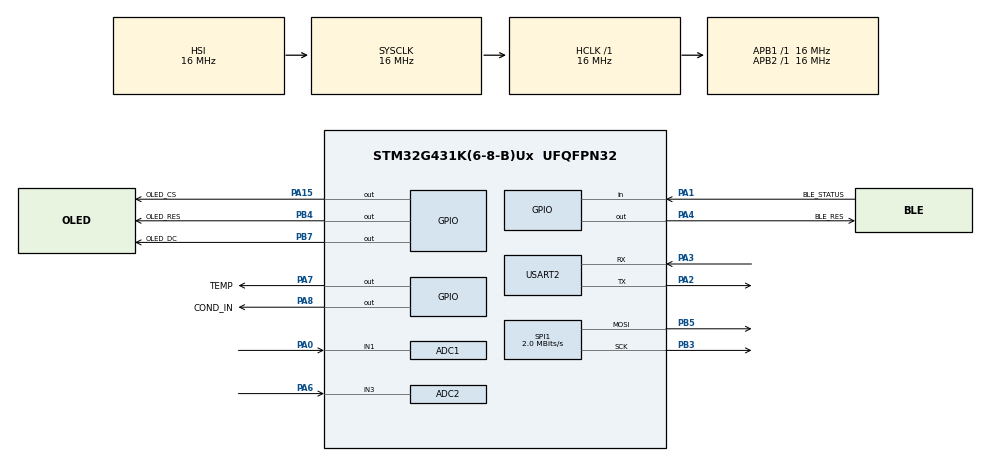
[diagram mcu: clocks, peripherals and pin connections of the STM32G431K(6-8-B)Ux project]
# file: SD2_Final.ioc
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ADC1.Channel-1\#ChannelRegularConversion=ADC_CHANNEL_1
ADC1.NbrOfConversionFlag=1
ADC1.OffsetNumber-1\#ChannelRegularConversion=ADC_OFFSET_NONE
ADC1.Rank-1\#ChannelRegularConversion=1
ADC1.SamplingTime-1\#ChannelRegularConversion=ADC_SAMPLETIME_92CYCLES_5
ADC1.master=1
ADC2.Channel-0\#ChannelRegularConversion=ADC_CHANNEL_3
ADC2.NbrOfConversionFlag=1
ADC2.OffsetNumber-0\#ChannelRegularConversion=ADC_OFFSET_NONE
ADC2.Rank-0\#ChannelRegularConversion=1
ADC2.SamplingTime-0\#ChannelRegularConversion=ADC_SAMPLETIME_92CYCLES_5
Mcu.Family=STM32G4
Mcu.Name=STM32G431K(6-8-B)Ux
Mcu.Package=UFQFPN32
NVIC.PriorityGroup=NVIC_PRIORITYGROUP_4
PA0.Mode=IN1-Single-Ended
PA0.Signal=ADC1_IN1
PA1.GPIO_Label=BLE_STATUS
PA1.Signal=GPIO_Input
PA13.Mode=Serial_Wire
PA13.Signal=SYS_JTMS-SWDIO
PA14.Mode=Serial_Wire
PA14.Signal=SYS_JTCK-SWCLK
PA15.GPIO_Label=OLED_CS
PA15.Signal=GPIO_Output
PA2.Mode=Asynchronous
PA2.Signal=USART2_TX
PA3.Mode=Asynchronous
PA3.Signal=USART2_RX
PA4.GPIO_Label=BLE_RES
PA4.PinState=GPIO_PIN_SET
PA4.Signal=GPIO_Output
PA6.Mode=IN3-Single-Ended
PA6.Signal=ADC2_IN3
PA7.GPIO_Label=TEMP
PA7.GPIO_ModeDefaultOutputPP=GPIO_MODE_OUTPUT_OD
PA7.GPIO_PuPd=GPIO_NOPULL
PA7.PinState=GPIO_PIN_SET
PA7.Signal=GPIO_Output
PA8.GPIO_Label=COND_IN
PA8.Signal=GPIO_Output
PB3.Mode=TX_Only_Simplex_Unidirect_Master
PB3.Signal=SPI1_SCK
PB4.GPIO_Label=OLED_RES
PB4.Signal=GPIO_Output
PB5.Mode=TX_Only_Simplex_Unidirect_Master
PB5.Signal=SPI1_MOSI
PB7.GPIO_Label=OLED_DC
PB7.Signal=GPIO_Output
ProjectManager.HeapSize=0x200
ProjectManager.StackSize=0x400
ProjectManager.TargetToolchain=STM32CubeIDE
RCC.AHBFreq_Value=16000000
RCC.APB1Freq_Value=16000000
RCC.APB1TimFreq_Value=16000000
RCC.APB2Freq_Value=16000000
RCC.APB2TimFreq_Value=16000000
RCC.CortexFreq_Value=16000000
RCC.EXTERNAL_CLOCK_VALUE=12288000
RCC.HCLKFreq_Value=16000000
RCC.HSE_VALUE=8000000
RCC.HSI48_VALUE=48000000
RCC.HSI_VALUE=16000000
RCC.LSE_VALUE=32768
RCC.SYSCLKFreq_VALUE=16000000
RCC.USBFreq_Value=64000000
RCC.VCOOutputFreq_Value=128000000
SPI1.BaudRatePrescaler=SPI_BAUDRATEPRESCALER_8
SPI1.CalculateBaudRate=2.0 MBits/s
SPI1.DataSize=SPI_DATASIZE_8BIT
SPI1.Direction=SPI_DIRECTION_2LINES
SPI1.Mode=SPI_MODE_MASTER
SPI1.VirtualType=VM_MASTER
TIM2.Prescaler=0
USART2.VirtualMode-Asynchronous=VM_ASYNC
VP_SYS_VS_DBSignals.Mode=DisableDeadBatterySignals
VP_TIM2_VS_ClockSourceINT.Mode=Internal
board=custom

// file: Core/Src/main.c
/* USER CODE BEGIN Header */
/**
  ******************************************************************************
  * @file           : main.c
  * @brief          : Main program body
  ******************************************************************************
  * @attention
  *
  * Copyright (c) 2026 STMicroelectronics.
  * All rights reserved.
  *
  * This software is licensed under terms that can be found in the LICENSE file
  * in the root directory of this software component.
  * If no LICENSE file comes with this software, it is provided AS-IS.
  *
  ******************************************************************************
  */
/* USER CODE END Header */
#include "main.h"

/* USER CODE BEGIN Includes */
#include <string.h>
#include <stdio.h>
#include <math.h>
#include "model_params.h"   /* auto-generated by train_model.py */
/* USER CODE END Includes */

/* USER CODE BEGIN PTD */
typedef struct
{
    uint16_t conductivity_adc;
    float conductivity_voltage;

    uint16_t load_adc;
    float weight_g;

    float temperature_c;

    uint8_t temperature_valid;
    uint8_t load_valid;
    uint8_t conductivity_valid;
} MeasurementFrame;
/* USER CODE END PTD */

/* USER CODE BEGIN PD */
/*
 * No lower validity bound on conductivity: near-zero readings are REAL
 * for low-conductivity liquids (isopropyl, distilled water), which are
 * part of the identification set. Tradeoff: a disconnected probe also
 * reads ~0 and can no longer be distinguished from those liquids.
 */
/* Tightened from 4090: readings near the rail mean a short (e.g. brine
 * film bridging the electrodes), not a real liquid measurement. */
#define COND_ADC_MAX_VALID       4050U

#define LOAD_ADC_MIN_VALID       5U
#define LOAD_ADC_MAX_VALID       4090U

#define TEMP_MIN_VALID_C        -10.0f
#define TEMP_MAX_VALID_C         85.0f

#define MEASUREMENT_TOTAL_MS       5000U
#define ANALOG_ACQUISITION_END_MS  4750U

#define FINAL_WEIGHT_SAMPLES       101U
#define FINAL_COND_SAMPLES         101U
#define FINAL_TEMP_SAMPLES         3U

/*
 * ADC -> conductivity conversion, two-point calibration 2026-07-14:
 *   1413 uS/cm standard -> 2535 counts @ 24.0 C
 *   12.88 mS/cm standard -> 2904 counts @ 26.9 C (avg of 3)
 * Model: r = adc/(4095-adc); sigma_mS_cm = A*r / (1 - B*r), then
 * compensated to 25 C. B captures series/electrode resistance; the
 * model saturates near ADC ~2954, so higher readings are clamped.
 */
#define COND_CAL_A_MS_CM         0.317081f
#define COND_CAL_B               0.386403f
#define COND_MAX_MS_CM           20.0f
/* USER CODE END PD */

ADC_HandleTypeDef hadc1;
ADC_HandleTypeDef hadc2;

SPI_HandleTypeDef hspi1;

TIM_HandleTypeDef htim2;

UART_HandleTypeDef huart2;

/* USER CODE BEGIN PV */

// BLE BEGIN
#define RN4871_RESET_PORT GPIOA
#define RN4871_RESET_PIN  GPIO_PIN_4
// BLE END

// OLED BEGIN
#define OLED_CS_PORT   OLED_CS_GPIO_Port
#define OLED_CS_PIN    OLED_CS_Pin

#define OLED_DC_PORT   OLED_DC_GPIO_Port
#define OLED_DC_PIN    OLED_DC_Pin

#define OLED_RES_PORT  OLED_RES_GPIO_Port
#define OLED_RES_PIN   OLED_RES_Pin

static const uint8_t FONT_SPACE[5] = {0x00, 0x00, 0x00, 0x00, 0x00};
static const uint8_t FONT_MINUS[5] = {0x08, 0x08, 0x08, 0x08, 0x08};
static const uint8_t FONT_DOT[5]   = {0x00, 0x60, 0x60, 0x00, 0x00};
static const uint8_t FONT_COLON[5] = {0x00, 0x36, 0x36, 0x00, 0x00};

static const uint8_t FONT_0[5] = {0x3E, 0x51, 0x49, 0x45, 0x3E};
static const uint8_t FONT_1[5] = {0x00, 0x42, 0x7F, 0x40, 0x00};
static const uint8_t FONT_2[5] = {0x42, 0x61, 0x51, 0x49, 0x46};
static const uint8_t FONT_3[5] = {0x21, 0x41, 0x45, 0x4B, 0x31};
static const uint8_t FONT_4[5] = {0x18, 0x14, 0x12, 0x7F, 0x10};
static const uint8_t FONT_5[5] = {0x27, 0x45, 0x45, 0x45, 0x39};
static const uint8_t FONT_6[5] = {0x3C, 0x4A, 0x49, 0x49, 0x30};
static const uint8_t FONT_7[5] = {0x01, 0x71, 0x09, 0x05, 0x03};
static const uint8_t FONT_8[5] = {0x36, 0x49, 0x49, 0x49, 0x36};
static const uint8_t FONT_9[5] = {0x06, 0x49, 0x49, 0x29, 0x1E};

static const uint8_t FONT_C[5] = {0x3E, 0x41, 0x41, 0x41, 0x22};
static const uint8_t FONT_D[5] = {0x7F, 0x41, 0x41, 0x22, 0x1C};
static const uint8_t FONT_E[5] = {0x7F, 0x49, 0x49, 0x49, 0x41};
static const uint8_t FONT_G[5] = {0x3E, 0x41, 0x49, 0x49, 0x7A};
static const uint8_t FONT_H[5] = {0x7F, 0x08, 0x08, 0x08, 0x7F};
static const uint8_t FONT_I[5] = {0x00, 0x41, 0x7F, 0x41, 0x00};
static const uint8_t FONT_M[5] = {0x7F, 0x02, 0x0C, 0x02, 0x7F};
static const uint8_t FONT_N[5] = {0x7F, 0x04, 0x08, 0x10, 0x7F};
static const uint8_t FONT_O[5] = {0x3E, 0x41, 0x41, 0x41, 0x3E};
static const uint8_t FONT_P[5] = {0x7F, 0x09, 0x09, 0x09, 0x06};
static const uint8_t FONT_T[5] = {0x01, 0x01, 0x7F, 0x01, 0x01};
static const uint8_t FONT_W[5] = {0x7F, 0x20, 0x18, 0x20, 0x7F};
static const uint8_t FONT_A[5] = {0x7E, 0x11, 0x11, 0x11, 0x7E};
static const uint8_t FONT_R[5] = {0x7F, 0x09, 0x19, 0x29, 0x46};
static const uint8_t FONT_S[5] = {0x46, 0x49, 0x49, 0x49, 0x31};
static const uint8_t FONT_U[5] = {0x3F, 0x40, 0x40, 0x40, 0x3F};
static const uint8_t FONT_B[5] = {0x7F, 0x49, 0x49, 0x49, 0x36};
static const uint8_t FONT_F[5] = {0x7F, 0x09, 0x09, 0x09, 0x01};
static const uint8_t FONT_J[5] = {0x20, 0x40, 0x41, 0x3F, 0x01};
static const uint8_t FONT_K[5] = {0x7F, 0x08, 0x14, 0x22, 0x41};
static const uint8_t FONT_L[5] = {0x7F, 0x40, 0x40, 0x40, 0x40};
static const uint8_t FONT_Q[5] = {0x3E, 0x41, 0x51, 0x21, 0x5E};
static const uint8_t FONT_V[5] = {0x1F, 0x20, 0x40, 0x20, 0x1F};
static const uint8_t FONT_X[5] = {0x63, 0x14, 0x08, 0x14, 0x63};
static const uint8_t FONT_Y[5] = {0x07, 0x08, 0x70, 0x08, 0x07};
static const uint8_t FONT_Z[5] = {0x61, 0x51, 0x49, 0x45, 0x43};

/*
 * 16x16 liquid icons for the identification screen. Layout: 16 column
 * bytes for the top page (rows 0-7, bit0 = top row), then 16 for the
 * bottom page. Order in LIQUID_ICONS must match the class indices in
 * model_params.h once the classifier is integrated.
 */
static const uint8_t ICON_FLASK[32] = {      /* isopropyl */
    0x00, 0x00, 0x00, 0x00, 0x80, 0xC1, 0x7F, 0x01, 0x01, 0x7F, 0xC1, 0x80, 0x00, 0x00, 0x00, 0x00,
    0x00, 0x7C, 0xC6, 0xE3, 0xF1, 0xF0, 0xF0, 0xF0, 0xF0, 0xF0, 0xF0, 0xF1, 0xE3, 0xC6, 0x7C, 0x00
};
static const uint8_t ICON_DROPLET[32] = {    /* distilled water */
    0x00, 0x00, 0x00, 0x00, 0xC0, 0xF0, 0xFC, 0xFF, 0xFF, 0xFC, 0xF0, 0xC0, 0x00, 0x00, 0x00, 0x00,
    0x00, 0x00, 0x00, 0x0F, 0x3F, 0x7F, 0xFF, 0xFF, 0xFF, 0xFF, 0x7F, 0x3F, 0x0F, 0x00, 0x00, 0x00
};
static const uint8_t ICON_FAUCET[32] = {     /* tap water */
    0xF0, 0xF8, 0x38, 0x38, 0x3A, 0x3B, 0x3B, 0x3F, 0x3B, 0x3A, 0x38, 0xF8, 0xF8, 0xF0, 0x00, 0x00,
    0x00, 0x00, 0x00, 0x00, 0x00, 0x00, 0x00, 0x00, 0x00, 0x00, 0x70, 0xF8, 0xFB, 0x73, 0x00, 0x00
};
static const uint8_t ICON_BOTTLE[32] = {     /* coke */
    0x00, 0x00, 0x00, 0xE0, 0xF0, 0xF8, 0xFF, 0xFF, 0xFF, 0xFF, 0xF8, 0xF0, 0xE0, 0x00, 0x00, 0x00,
    0x00, 0x00, 0x00, 0x7F, 0xFF, 0xF0, 0xF0, 0xF0, 0xF0, 0xF0, 0xF0, 0xFF, 0x7F, 0x00, 0x00, 0x00
};
static const uint8_t ICON_JUG[32] = {        /* vinegar */
    0x00, 0x00, 0x00, 0xE0, 0x30, 0x18, 0x0F, 0x0F, 0x0F, 0x18, 0x30, 0xE0, 0x00, 0x00, 0x00, 0x00,
    0x00, 0x00, 0x00, 0x7F, 0xC0, 0x9E, 0x92, 0x92, 0x92, 0x9E, 0xC0, 0x7F, 0x00, 0x00, 0x00, 0x00
};
static const uint8_t ICON_SHAKER[32] = {     /* salt water */
    0x00, 0x00, 0x00, 0xE0, 0x3E, 0x0B, 0x0D, 0x0B, 0x0D, 0x0B, 0x3F, 0xE0, 0x00, 0x00, 0x00, 0x00,
    0x00, 0x00, 0xFF, 0xC1, 0xC0, 0xF0, 0xF8, 0xF8, 0xF8, 0xF0, 0xC0, 0xC1, 0xFF, 0x00, 0x00, 0x00
};
static const uint8_t ICON_UNKNOWN[32] = {    /* below-confidence / unknown */
    0x00, 0x00, 0x00, 0x06, 0x07, 0x01, 0xC1, 0xE1, 0x71, 0x3F, 0x1E, 0x00, 0x00, 0x00, 0x00, 0x00,
    0x00, 0x00, 0x00, 0x00, 0x00, 0x00, 0x33, 0x33, 0x00, 0x00, 0x00, 0x00, 0x00, 0x00, 0x00, 0x00
};

/*
 * Class index -> icon. MUST stay aligned with CLASS_NAMES in
 * model_params.h (training labels sort alphabetically). Current model:
 * 0=COKE, 1=DISTILLED, 2=GLYCERIN, 3=ISOPROPYL, 4=SALT WATER, 5=TAP WATER.
 */
static const uint8_t *const LIQUID_ICONS[NUM_CLASSES] = {
    ICON_BOTTLE,   /* 0: COKE       */
    ICON_DROPLET,  /* 1: DISTILLED  */
    ICON_JUG,      /* 2: GLYCERIN   */
    ICON_FLASK,    /* 3: ISOPROPYL  */
    ICON_SHAKER,   /* 4: SALT WATER */
    ICON_FAUCET,   /* 5: TAP WATER  */
};
// OLED END

#define TIM2_TICKS_PER_US 16U

// TEMP BEGIN
uint8_t ds18b20_present = 0;
float measured_temp_c = 0.0f;
// TEMP END

// LOAD BEGIN
uint16_t load_adc_raw = 0;
float load_voltage = 0.0f;
float measured_weight_g = 0.0f;
float load_zero_adc = 2438.0f;	// pre-tare default; overwritten by boot tare
/*
 * Slope recalibrated 2026-07-20 against 100 mL water-density pours:
 * the load cell drifts session to session, so this tracks the current
 * state (was 1.589 -> 1.1345 -> now 1.9088). Because the cell is
 * unreliable, mass is weighted only 0.1 in the classifier; this slope
 * mainly keeps the displayed grams sensible. RE-VERIFY on demo day:
 * 100 mL water should read ~100 g; if far off, recompute.
 * Ricky's original temperature-dependent values for reference:
 *   1.589 Cool (~20-22C) / 1.54 Normal (~23-25C) / 1.357 Warm (>25.5C)
 */
float load_counts_per_gram = 1.9088f;
static float filtered_weight_g = 0.0f;
static uint8_t weight_filter_initialized = 0U;
#define WEIGHT_MEDIAN_WINDOW 5U
static float weight_history[WEIGHT_MEDIAN_WINDOW] = {0.0f};
static uint8_t weight_history_count = 0U;
static uint8_t weight_history_index = 0U;
// LOAD END

// CONDUCTIVITY BEGIN
uint16_t cond_adc_high = 0;
float cond_voltage_high = 0.0f;
uint16_t cond_adc_raw = 0;
float cond_voltage = 0.0f;
// CONDUCTIVITY END

MeasurementFrame measurement = {0};

/* USER CODE END PV */

void SystemClock_Config(void);
static void MX_GPIO_Init(void);
static void MX_ADC1_Init(void);
static void MX_ADC2_Init(void);
static void MX_SPI1_Init(void);
static void MX_TIM2_Init(void);
static void MX_USART2_UART_Init(void);
static const uint8_t *OLED_GetGlyph(char character);
static void OLED_Clear(void);
static float LoadCell_MedianFilter(float new_weight);
/* USER CODE BEGIN PFP */

// OLED BEGIN
static void OLED_SetCursor(uint8_t page, uint8_t column);
static void OLED_WriteChar(char character);
static void OLED_WriteLine(uint8_t page, const char *text);
static void OLED_ShowMeasurements(float conductivity_ms_cm,
                                  float weight_g,
                                  float temperature_c);
// OLED END

// LOAD BEGIN
static uint16_t ADC_ReadSingle(ADC_HandleTypeDef *hadc);
static uint16_t LoadCell_ReadFiltered(uint16_t sample_count);
static float LoadCell_GetWeight(uint16_t sample_count);
// LOAD END

// COND BEGIN
static uint16_t Conductivity_Read(uint16_t sample_count);
static float Conductivity_ToMScm(uint16_t adc, float temp_c);
// COND END

static void Measurement_Acquire(MeasurementFrame *frame);
static uint8_t Measurement_IsValid(const MeasurementFrame *frame);
static void Measurement_Send(const MeasurementFrame *frame);
static float MedianFloat(float values[], uint16_t count);
static uint16_t MedianUint16(uint16_t values[], uint16_t count);

static void Measurement_RunFiveSeconds(MeasurementFrame *frame);
static void Measurement_DisplayFinal(const MeasurementFrame *frame);

static void LoadCell_Tare(uint32_t duration_ms);

/* On-device classification result (kNN + Nearest Centroid). */
typedef struct
{
    uint8_t knn_class;
    float knn_confidence;
    uint8_t nc_class;
    float nc_confidence;
} ClassificationResult;

static void Classifier_Run(const MeasurementFrame *frame,
                           ClassificationResult *result);

/* Demo mass conditioning (applied post-identification, pre-send). */
static float ClampToRange(float value, float lo, float hi);
static float Mass_ConditionForDemo(uint8_t class_index, float measured_g);
/* USER CODE END PFP */

/* USER CODE BEGIN 0 */

// BLE BEGIN
void RN4871_Reset(void)
{
    // Most reset pins are active-low.
    HAL_GPIO_WritePin(RN4871_RESET_PORT, RN4871_RESET_PIN, GPIO_PIN_RESET);
    HAL_Delay(20);
    HAL_GPIO_WritePin(RN4871_RESET_PORT, RN4871_RESET_PIN, GPIO_PIN_SET);
    HAL_Delay(500);
}

void BT_SendString(const char *str)
{
    HAL_UART_Transmit(&huart2, (uint8_t *)str, strlen(str), HAL_MAX_DELAY);
}
// BLE END

// OLED BEGIN
void OLED_Select(void)
{
    HAL_GPIO_WritePin(OLED_CS_PORT, OLED_CS_PIN, GPIO_PIN_RESET);
}

void OLED_Unselect(void)
{
    HAL_GPIO_WritePin(OLED_CS_PORT, OLED_CS_PIN, GPIO_PIN_SET);
}

void OLED_Command(uint8_t cmd)
{
    HAL_GPIO_WritePin(OLED_DC_PORT, OLED_DC_PIN, GPIO_PIN_RESET);
    OLED_Select();
    HAL_SPI_Transmit(&hspi1, &cmd, 1, HAL_MAX_DELAY);
    OLED_Unselect();
}

void OLED_Data(uint8_t data)
{
    HAL_GPIO_WritePin(OLED_DC_PORT, OLED_DC_PIN, GPIO_PIN_SET);
    OLED_Select();
    HAL_SPI_Transmit(&hspi1, &data, 1, HAL_MAX_DELAY);
    OLED_Unselect();
}

static void OLED_SetCursor(uint8_t page, uint8_t column)
{
    /*
     * SH1106 has a two-column display RAM offset.
     */
    uint8_t adjusted_column = column + 2U;

    OLED_Command((uint8_t)(0xB0U + page));
    OLED_Command((uint8_t)(adjusted_column & 0x0FU));
    OLED_Command((uint8_t)(0x10U |
                           ((adjusted_column >> 4U) & 0x0FU)));
}

static void OLED_WriteChar(char character)
{
    const uint8_t *glyph = OLED_GetGlyph(character);
    uint8_t data[6];

    for (uint8_t i = 0U; i < 5U; i++)
    {
        data[i] = glyph[i];
    }

    data[5] = 0x00;

    HAL_GPIO_WritePin(OLED_DC_PORT, OLED_DC_PIN, GPIO_PIN_SET);

    OLED_Select();
    HAL_SPI_Transmit(&hspi1, data, sizeof(data), 10U);
    OLED_Unselect();
}

static void OLED_WriteLine(uint8_t page, const char *text)
{
    OLED_SetCursor(page, 0U);

    for (uint8_t position = 0U; position < 21U; position++)
    {
        if ((text != NULL) && (*text != '\0'))
        {
            OLED_WriteChar(*text);
            text++;
        }
        else
        {
            OLED_WriteChar(' ');
        }
    }
}

static void OLED_ShowMeasurements(float conductivity_ms_cm,
                                  float weight_g,
                                  float temperature_c)
{
    char line[22];

    /* Shown in uS/cm to match the app's display unit. */
    snprintf(line,
             sizeof(line),
             "COND: %.0f",
             conductivity_ms_cm * 1000.0f);

    OLED_WriteLine(0U, line);

    snprintf(line,
             sizeof(line),
             "WEIGHT: %.1f G",
             weight_g);

    OLED_WriteLine(2U, line);

    if (ds18b20_present && temperature_c > -100.0f)
    {
        snprintf(line,
                 sizeof(line),
                 "TEMP: %.2f C",
                 temperature_c);
    }
    else
    {
        snprintf(line,
                 sizeof(line),
                 "TEMP: ERROR");
    }

    OLED_WriteLine(4U, line);
}

/* Draw a 16x16 icon with its top-left at (page, column). Spans 2 pages. */
static void OLED_DrawIcon16(uint8_t page, uint8_t column, const uint8_t *icon)
{
    for (uint8_t p = 0U; p < 2U; p++)
    {
        OLED_SetCursor(page + p, column);

        HAL_GPIO_WritePin(OLED_DC_PORT, OLED_DC_PIN, GPIO_PIN_SET);
        OLED_Select();
        HAL_SPI_Transmit(&hspi1, (uint8_t *)&icon[p * 16U], 16U, 10U);
        OLED_Unselect();
    }
}

/*
 * Identification screen: liquid icon (centered, large) + name below.
 * Call once the on-device classifier is integrated, e.g.:
 *     OLED_ShowIdentified(class_index, CLASS_NAMES[class_index]);
 * Pass an out-of-range index (e.g. 0xFF) to show the UNKNOWN icon.
 */
static void OLED_ShowIdentified(uint8_t class_index, const char *name)
{
    const uint8_t *icon;

    if (class_index < (sizeof(LIQUID_ICONS) / sizeof(LIQUID_ICONS[0])))
    {
        icon = LIQUID_ICONS[class_index];
    }
    else
    {
        icon = ICON_UNKNOWN;
    }

    OLED_Clear();
    OLED_DrawIcon16(1U, 56U, icon);   /* centered: (128-16)/2 = 56 */
    OLED_WriteLine(5U, name);
}

static void OLED_ShowProcessing(uint8_t dots)
{
    char line[22];

    strcpy(line, "MEASURING");

    for (uint8_t i = 0; i < dots; i++)
    {
        strcat(line, ".");
    }

    OLED_Clear();
    OLED_WriteLine(2, line);
}

void OLED_Reset(void)
{
    HAL_GPIO_WritePin(OLED_RES_PORT, OLED_RES_PIN, GPIO_PIN_RESET);
    HAL_Delay(20);
    HAL_GPIO_WritePin(OLED_RES_PORT, OLED_RES_PIN, GPIO_PIN_SET);
    HAL_Delay(20);
}

void OLED_Init(void)
{
    OLED_Reset();

    OLED_Command(0xAE); // Display OFF
    OLED_Command(0xD5); // Set display clock
    OLED_Command(0x80);
    OLED_Command(0xA8); // Multiplex ratio
    OLED_Command(0x3F);
    OLED_Command(0xD3); // Display offset
    OLED_Command(0x00);
    OLED_Command(0x40); // Start line
    OLED_Command(0xAD); // DC-DC control for SH1106
    OLED_Command(0x8B);
    OLED_Command(0xA1); // Segment remap
    OLED_Command(0xC8); // COM scan direction
    OLED_Command(0xDA); // COM pins
    OLED_Command(0x12);
    OLED_Command(0x81); // Contrast
    OLED_Command(0x30);
    OLED_Command(0xD9); // Pre-charge
    OLED_Command(0x1F);
    OLED_Command(0xDB); // VCOM detect
    OLED_Command(0x40);
    OLED_Command(0xA4); // Resume RAM content
    OLED_Command(0xA6); // Normal display
    OLED_Command(0xAF); // Display ON
}

void OLED_Clear(void)
{
    for (uint8_t page = 0; page < 8; page++)
    {
        OLED_Command(0xB0 + page);
        OLED_Command(0x02); // lower column offset for SH1106
        OLED_Command(0x10); // higher column

        for (uint8_t col = 0; col < 128; col++)
        {
            OLED_Data(0x00);
        }
    }
}

void OLED_Fill(void)
{
    for (uint8_t page = 0; page < 8; page++)
    {
        OLED_Command(0xB0 + page);
        OLED_Command(0x02);
        OLED_Command(0x10);

        for (uint8_t col = 0; col < 128; col++)
        {
            OLED_Data(0xFF);
        }
    }
}

static const uint8_t *OLED_GetGlyph(char character)
{
    switch (character)
    {
        case '0': return FONT_0;
        case '1': return FONT_1;
        case '2': return FONT_2;
        case '3': return FONT_3;
        case '4': return FONT_4;
        case '5': return FONT_5;
        case '6': return FONT_6;
        case '7': return FONT_7;
        case '8': return FONT_8;
        case '9': return FONT_9;

        case 'A': return FONT_A;
        case 'C': return FONT_C;
        case 'D': return FONT_D;
        case 'E': return FONT_E;
        case 'G': return FONT_G;
        case 'H': return FONT_H;
        case 'I': return FONT_I;
        case 'M': return FONT_M;
        case 'N': return FONT_N;
        case 'O': return FONT_O;
        case 'P': return FONT_P;
        case 'R': return FONT_R;
        case 'S': return FONT_S;
        case 'T': return FONT_T;
        case 'U': return FONT_U;
        case 'W': return FONT_W;
        case 'B': return FONT_B;
        case 'F': return FONT_F;
        case 'J': return FONT_J;
        case 'K': return FONT_K;
        case 'L': return FONT_L;
        case 'Q': return FONT_Q;
        case 'V': return FONT_V;
        case 'X': return FONT_X;
        case 'Y': return FONT_Y;
        case 'Z': return FONT_Z;

        case ':': return FONT_COLON;
        case '.': return FONT_DOT;
        case '-': return FONT_MINUS;
        case ' ':
        default:
            return FONT_SPACE;
    }
}
// OLED END

// TEMP BEGIN
static inline void DS18B20_LineLow(void)
{
    HAL_GPIO_WritePin(TEMP_GPIO_Port, TEMP_Pin, GPIO_PIN_RESET);
}

static inline void DS18B20_LineRelease(void)
{
    HAL_GPIO_WritePin(TEMP_GPIO_Port, TEMP_Pin, GPIO_PIN_SET);
}

static inline uint8_t DS18B20_LineRead(void)
{
    return HAL_GPIO_ReadPin(TEMP_GPIO_Port, TEMP_Pin) == GPIO_PIN_SET;
}

static void delay_us(uint32_t us)
{
    uint32_t start = __HAL_TIM_GET_COUNTER(&htim2);
    uint32_t required_ticks = us * TIM2_TICKS_PER_US;

    while ((__HAL_TIM_GET_COUNTER(&htim2) - start) < required_ticks)
    {
    }
}

static uint8_t DS18B20_Start(void)
{
    uint8_t response;

    DS18B20_LineRelease();
    delay_us(10);

    if (!DS18B20_LineRead())
    {
        return 0U;
    }

    __disable_irq();

    DS18B20_LineLow();
    delay_us(500);

    DS18B20_LineRelease();
    delay_us(70);

    response = DS18B20_LineRead() ? 0U : 1U;

    __enable_irq();

    delay_us(410);

    return response;
}

void DS18B20_WriteBit(uint8_t bit)
{
    __disable_irq();

    DS18B20_LineLow();

    if (bit)
    {
        delay_us(6);
        DS18B20_LineRelease();
        delay_us(64);
    }
    else
    {
        delay_us(60);
        DS18B20_LineRelease();
        delay_us(10);
    }

    __enable_irq();
}

static uint8_t DS18B20_ReadBit(void)
{
    uint8_t bit;

    __disable_irq();

    DS18B20_LineLow();
    delay_us(3);

    DS18B20_LineRelease();
    delay_us(12);

    bit = DS18B20_LineRead();

    delay_us(50);

    __enable_irq();

    return bit;
}

void DS18B20_WriteByte(uint8_t data)
{
    for (uint8_t i = 0; i < 8; i++)
    {
        DS18B20_WriteBit(data & 0x01U);
        data >>= 1;
    }
}

uint8_t DS18B20_ReadByte(void)
{
    uint8_t value = 0;

    for (uint8_t i = 0; i < 8; i++)
    {
        if (DS18B20_ReadBit())
        {
            value |= (1U << i);
        }
    }

    return value;
}

static float DS18B20_ReadTemp(void)
{
    uint8_t scratchpad[9];
    int16_t raw_temperature;

    ds18b20_present = DS18B20_Start();

    if (!ds18b20_present)
    {
        return -1000.0f;
    }

    DS18B20_WriteByte(0xCC);  // Skip ROM
    DS18B20_WriteByte(0x44);  // Start conversion

    HAL_Delay(750);

    ds18b20_present = DS18B20_Start();

    if (!ds18b20_present)
    {
        return -1000.0f;
    }

    DS18B20_WriteByte(0xCC);  // Skip ROM
    DS18B20_WriteByte(0xBE);  // Read scratchpad

    for (uint8_t i = 0; i < 9; i++)
    {
        scratchpad[i] = DS18B20_ReadByte();
    }

    if ((scratchpad[0] == 0x00U && scratchpad[1] == 0x00U) ||
        (scratchpad[0] == 0xFFU && scratchpad[1] == 0xFFU))
    {
        return -1000.0f;
    }

    raw_temperature =
        (int16_t)(((uint16_t)scratchpad[1] << 8) | scratchpad[0]);

    return (float)raw_temperature / 16.0f;
}
// TEMP END

// LOAD BEGIN
static uint16_t ADC_ReadSingle(ADC_HandleTypeDef *hadc)
{
    uint16_t value = 0;

    if (HAL_ADC_Start(hadc) != HAL_OK)
    {
        return 0;
    }

    if (HAL_ADC_PollForConversion(hadc, 10U) == HAL_OK)
    {
        value = (uint16_t)HAL_ADC_GetValue(hadc);
    }

    HAL_ADC_Stop(hadc);

    return value;
}

static uint16_t LoadCell_ReadFiltered(uint16_t sample_count)
{
    if (sample_count < 3U)
    {
        return 0U;
    }

    uint32_t sum = 0;
    uint16_t minimum = 4095U;
    uint16_t maximum = 0U;

    for (uint16_t i = 0; i < sample_count; i++)
    {
        uint16_t sample = ADC_ReadSingle(&hadc2);

        sum += sample;

        if (sample < minimum)
        {
            minimum = sample;
        }

        if (sample > maximum)
        {
            maximum = sample;
        }
    }

    sum -= minimum;
    sum -= maximum;

    return (uint16_t)(sum / (sample_count - 2U));
}

static float LoadCell_GetWeight(uint16_t sample_count)
{
    load_adc_raw = LoadCell_ReadFiltered(sample_count);

    if (load_counts_per_gram == 0.0f)
    {
        return 0.0f;
    }

    return ((float)load_adc_raw - load_zero_adc) /
           load_counts_per_gram;
}

static float LoadCell_FilterWeight(float new_weight)
{
    float difference;
    float alpha;

    if (!weight_filter_initialized)
    {
        filtered_weight_g = new_weight;
        weight_filter_initialized = 1U;
        return filtered_weight_g;
    }

    difference = fabsf(new_weight - filtered_weight_g);

    if (difference > 10.0f)
    {
        alpha = 0.85f;   // Rapid response to a new load
    }
    else if (difference > 3.0f)
    {
        alpha = 0.50f;   // Moderate correction
    }
    else
    {
        alpha = 0.15f;   // Smooth the stable reading
    }

    filtered_weight_g =
        alpha * new_weight +
        (1.0f - alpha) * filtered_weight_g;

    return filtered_weight_g;
}

static float LoadCell_ApplyDeadband(float new_weight)
{
    static float displayed_weight = 0.0f;

    if (fabsf(new_weight - displayed_weight) >= 1.0f)
    {
        displayed_weight = new_weight;
    }

    return displayed_weight;
}

static float LoadCell_MedianFilter(float new_weight)
{
    float sorted[WEIGHT_MEDIAN_WINDOW];
    uint8_t count;

    /* Add the newest result to the circular history buffer. */
    weight_history[weight_history_index] = new_weight;

    weight_history_index++;

    if (weight_history_index >= WEIGHT_MEDIAN_WINDOW)
    {
        weight_history_index = 0U;
    }

    if (weight_history_count < WEIGHT_MEDIAN_WINDOW)
    {
        weight_history_count++;
    }

    count = weight_history_count;

    /* Copy the valid history values into a temporary array. */
    for (uint8_t i = 0U; i < count; i++)
    {
        sorted[i] = weight_history[i];
    }

    /* Insertion sort. This is efficient enough for five values. */
    for (uint8_t i = 1U; i < count; i++)
    {
        float value = sorted[i];
        int8_t j = (int8_t)i - 1;

        while ((j >= 0) && (sorted[j] > value))
        {
            sorted[j + 1] = sorted[j];
            j--;
        }

        sorted[j + 1] = value;
    }

    /* Return the middle value for an odd number of readings. */
    if ((count & 1U) != 0U)
    {
        return sorted[count / 2U];
    }

    /* Average the two middle values while the buffer is filling. */
    return (sorted[(count / 2U) - 1U] +
            sorted[count / 2U]) / 2.0f;
}
// LOAD END

/*
 * Tare the load cell: average readings for duration_ms into
 * load_zero_adc. Runs on every boot (power-up or app RESET), so the
 * chamber must be empty - or hold only the empty vessel - during it.
 * The OLED stays off while sampling, same precaution as measurements.
 */
static void LoadCell_Tare(uint32_t duration_ms)
{
    uint32_t start_ms;
    float sum = 0.0f;
    uint32_t count = 0U;
    char buffer[64];

    OLED_Command(0xAF);
    OLED_Clear();
    OLED_WriteLine(2U, "TARING");
    HAL_Delay(150U);

    OLED_Command(0xAE);
    HAL_Delay(50U);

    start_ms = HAL_GetTick();

    while ((HAL_GetTick() - start_ms) < duration_ms)
    {
        sum += (float)LoadCell_ReadFiltered(32U);
        count++;
    }

    if (count > 0U)
    {
        load_zero_adc = sum / (float)count;
    }

    snprintf(buffer,
             sizeof(buffer),
             "TARE | ZERO:%.1f | N:%lu\r\n",
             load_zero_adc,
             (unsigned long)count);

    BT_SendString(buffer);
}

static float MedianFloat(float values[], uint16_t count)
{
    if ((values == NULL) || (count == 0U))
    {
        return 0.0f;
    }

    /*
     * Insertion sort is appropriate for this small array.
     * The original array is intentionally sorted in place.
     */
    for (uint16_t i = 1U; i < count; i++)
    {
        float current = values[i];
        int32_t j = (int32_t)i - 1;

        while ((j >= 0) && (values[j] > current))
        {
            values[j + 1] = values[j];
            j--;
        }

        values[j + 1] = current;
    }

    if ((count & 1U) != 0U)
    {
        return values[count / 2U];
    }

    return (values[(count / 2U) - 1U] +
            values[count / 2U]) / 2.0f;
}

static uint16_t MedianUint16(uint16_t values[], uint16_t count)
{
    if ((values == NULL) || (count == 0U))
    {
        return 0U;
    }

    for (uint16_t i = 1U; i < count; i++)
    {
        uint16_t current = values[i];
        int32_t j = (int32_t)i - 1;

        while ((j >= 0) && (values[j] > current))
        {
            values[j + 1] = values[j];
            j--;
        }

        values[j + 1] = current;
    }

    if ((count & 1U) != 0U)
    {
        return values[count / 2U];
    }

    return (uint16_t)(
        ((uint32_t)values[(count / 2U) - 1U] +
         (uint32_t)values[count / 2U]) / 2U);
}

// CONDUCTIVITY BEGIN
static uint16_t Conductivity_Read(uint16_t sample_count)
{
    uint32_t sum = 0U;
    uint16_t minimum = 4095U;
    uint16_t maximum = 0U;

    if (sample_count < 3U)
    {
        return 0U;
    }

    /*
     * Force the divider node to a known discharged state
     * before beginning each measurement.
     */
    HAL_GPIO_WritePin(COND_IN_GPIO_Port,
                      COND_IN_Pin,
                      GPIO_PIN_RESET);

    HAL_Delay(10);

    /*
     * Apply excitation and allow the divider and ADC node
     * to settle completely.
     */
    HAL_GPIO_WritePin(COND_IN_GPIO_Port,
                      COND_IN_Pin,
                      GPIO_PIN_SET);

    HAL_Delay(10);

    /* Discard initial ADC conversions. */
    (void)ADC_ReadSingle(&hadc1);
    (void)ADC_ReadSingle(&hadc1);
    (void)ADC_ReadSingle(&hadc1);

    for (uint16_t i = 0U; i < sample_count; i++)
    {
        uint16_t sample = ADC_ReadSingle(&hadc1);

        sum += sample;

        if (sample < minimum)
        {
            minimum = sample;
        }

        if (sample > maximum)
        {
            maximum = sample;
        }
    }

    HAL_GPIO_WritePin(COND_IN_GPIO_Port,
                      COND_IN_Pin,
                      GPIO_PIN_RESET);

    sum -= minimum;
    sum -= maximum;

    return (uint16_t)(sum / (sample_count - 2U));
}

/*
 * Convert raw conductivity ADC counts to mS/cm using the two-point
 * calibrated model sigma = A*r/(1 - B*r), r = adc/(4095-adc). The B
 * term corrects the saturation from series/electrode resistance. Near
 * and past the model's asymptote the value is clamped, so very
 * conductive liquids report a large, stable ceiling instead of a
 * divergent number. Result is compensated to 25 C (~2%/C).
 */
static float Conductivity_ToMScm(uint16_t adc, float temp_c)
{
    float r;
    float denom;
    float sigma;

    if (adc >= 4095U)
    {
        return -1.0f;  /* railed - not a valid reading */
    }

    r = (float)adc / (4095.0f - (float)adc);

    denom = 1.0f - (COND_CAL_B * r);

    if (denom < 0.05f)
    {
        denom = 0.05f;  /* at/past the asymptote: peg the reading */
    }

    sigma = (COND_CAL_A_MS_CM * r) / denom;

    if (sigma > COND_MAX_MS_CM)
    {
        sigma = COND_MAX_MS_CM;
    }

    return sigma / (1.0f + 0.02f * (temp_c - 25.0f));
}
// CONDUCTIVITY END

// CLASSIFIER BEGIN
/*
 * Identify the liquid from a completed measurement using the constants
 * in model_params.h. The feature pipeline MUST mirror train_model.py:
 *   f[0] = log10(adc / (4095 - adc)), f[1] = weight_g, f[2] = temp_C,
 * each standardized with the trained scaler. kNN votes among the K
 * nearest stored training points; Nearest Centroid takes the closest
 * class mean, with confidence from the best/second-best margin.
 */
static void Classifier_Run(const MeasurementFrame *frame,
                           ClassificationResult *result)
{
    float f[NUM_FEATURES];
    float ratio;
    float best_dist[KNN_K];
    uint8_t best_class[KNN_K];
    uint8_t votes[NUM_CLASSES];
    float nc_best = 1e30f;
    float nc_second = 1e30f;
    uint8_t winner;
    uint8_t i;
    uint8_t c;
    uint16_t p;

    /* ── Feature pipeline ── */
    ratio = (float)frame->conductivity_adc /
            (4095.0f - (float)frame->conductivity_adc);

    if (ratio < COND_RATIO_FLOOR)
    {
        /* Clamp identically to train_model.py so bottom-of-range liquids
           (glycerin, 0-1 counts) match their trained cluster. */
        ratio = COND_RATIO_FLOOR;
    }

    f[0] = log10f(ratio);
    f[1] = 0.0f;   /* mass intentionally excluded from identification */
    f[2] = frame->temperature_c;

    for (i = 0U; i < NUM_FEATURES; i++)
    {
        f[i] = (f[i] - SCALER_MEAN[i]) / SCALER_SCALE[i];
        f[i] *= FEATURE_WEIGHTS[i];
    }

    /* ── kNN: keep the K nearest training points (squared distance) ── */
    for (i = 0U; i < KNN_K; i++)
    {
        best_dist[i] = 1e30f;
        best_class[i] = 0U;
    }

    for (p = 0U; p < NUM_TRAIN_POINTS; p++)
    {
        float d = 0.0f;

        for (i = 0U; i < NUM_FEATURES; i++)
        {
            float diff = f[i] - TRAIN_POINTS[p][i];
            d += diff * diff;
        }

        for (i = 0U; i < KNN_K; i++)
        {
            if (d < best_dist[i])
            {
                for (uint8_t j = KNN_K - 1U; j > i; j--)
                {
                    best_dist[j] = best_dist[j - 1U];
                    best_class[j] = best_class[j - 1U];
                }

                best_dist[i] = d;
                best_class[i] = TRAIN_LABELS[p];
                break;
            }
        }
    }

    for (c = 0U; c < NUM_CLASSES; c++)
    {
        votes[c] = 0U;
    }

    for (i = 0U; i < KNN_K; i++)
    {
        votes[best_class[i]]++;
    }

    winner = 0U;

    for (c = 1U; c < NUM_CLASSES; c++)
    {
        if (votes[c] > votes[winner])
        {
            winner = c;
        }
    }

    /* Unknown rejection: even the closest training point is farther than
       anything a known liquid produces -> refuse to guess. */
    if (best_dist[0] > KNN_REJECT_D2)
    {
        result->knn_class = 0xFFU;
        result->knn_confidence = 0.0f;
    }
    else
    {
        result->knn_class = winner;
        result->knn_confidence = (float)votes[winner] / (float)KNN_K;
    }

    /* ── Nearest Centroid ── */
    winner = 0U;

    for (c = 0U; c < NUM_CLASSES; c++)
    {
        float d = 0.0f;

        for (i = 0U; i < NUM_FEATURES; i++)
        {
            float diff = f[i] - CENTROIDS[c][i];
            d += diff * diff;
        }

        if (d < nc_best)
        {
            nc_second = nc_best;
            nc_best = d;
            winner = c;
        }
        else if (d < nc_second)
        {
            nc_second = d;
        }
    }

    if (nc_best > KNN_REJECT_D2)
    {
        result->nc_class = 0xFFU;
        result->nc_confidence = 0.0f;
    }
    else
    {
        result->nc_class = winner;
        result->nc_confidence =
            ((nc_best + nc_second) > 0.0f)
                ? (nc_second / (nc_best + nc_second))
                : 1.0f;
    }
}
// CLASSIFIER END

// MASS CONDITIONING BEGIN
/* Clamp value into [lo, hi]: values inside are unchanged, values outside
   are pulled to the nearest edge. */
static float ClampToRange(float value, float lo, float hi)
{
    if (value > hi)
    {
        return hi;
    }

    if (value < lo)
    {
        return lo;
    }

    return value;
}

/*
 * Demo mass conditioning. The load cell is unreliable session to session
 * (see load_counts_per_gram), so once the liquid is identified we compare
 * the measured mass of the nominally 100 mL sample against the known mass
 * of 100 mL of that liquid. If it falls outside a +/-4 g window we clamp
 * it to the nearest window edge, keeping it as close to the real reading
 * as possible while still physically sensible. Classification already ran
 * on the RAW mass, so this affects only the displayed/transmitted value,
 * never the identity.
 *
 * Centers = density (g/mL) * 100 mL. VERIFY by weighing 100 mL of each on
 * the rig and updating the numbers to match your actual samples:
 *   0 Coke (regular)  ~1.04 -> 104 g   (diet ~1.00 -> 100 g)
 *   1 Distilled water  1.00 -> 100 g
 *   2 Glycerin (pure)  1.26 -> 126 g
 *   3 Isopropyl (91%) ~0.81 ->  81 g   (70% ~87 g, 99% ~79 g)
 *   4 Salt water      ~1.03 -> 103 g   (seawater ~3.5%; strong brine is higher)
 *   5 Tap water        1.00 -> 100 g
 * Class order matches CLASS_NAMES in model_params.h.
 */
static float Mass_ConditionForDemo(uint8_t class_index, float measured_g)
{
    if (class_index == 0U)          /* Coke: 104 +/- 4 g */
    {
        return ClampToRange(measured_g, 100.0f, 108.0f);
    }
    else if (class_index == 1U)     /* Distilled water: 100 +/- 4 g */
    {
        return ClampToRange(measured_g, 96.0f, 104.0f);
    }
    else if (class_index == 2U)     /* Glycerin: 126 +/- 4 g */
    {
        return ClampToRange(measured_g, 122.0f, 130.0f);
    }
    else if (class_index == 3U)     /* Isopropyl (91%): 81 +/- 4 g */
    {
        return ClampToRange(measured_g, 77.0f, 85.0f);
    }
    else if (class_index == 4U)     /* Salt water: 103 +/- 4 g */
    {
        return ClampToRange(measured_g, 99.0f, 107.0f);
    }
    else if (class_index == 5U)     /* Tap water: 100 +/- 4 g */
    {
        return ClampToRange(measured_g, 96.0f, 104.0f);
    }

    /* Unknown liquid (0xFF): leave the reading unchanged. */
    return measured_g;
}
// MASS CONDITIONING END

static void Measurement_RunFiveSeconds(MeasurementFrame *frame)
{
    float weight_samples[FINAL_WEIGHT_SAMPLES];
    uint16_t conductivity_samples[FINAL_COND_SAMPLES];

    uint16_t weight_count = 0U;
    uint16_t conductivity_count = 0U;

    float temperature_sum = 0.0f;
    uint8_t temperature_count = 0U;

    uint32_t measurement_start_ms;
    uint32_t next_status_update_ms;
    uint8_t processing_step = 0U;

    if (frame == NULL)
    {
        return;
    }

    memset(frame, 0, sizeof(*frame));

    measurement_start_ms = HAL_GetTick();

    /* Show the first processing frame immediately. */
    OLED_Command(0xAF);
    OLED_ShowProcessing(processing_step);
    HAL_Delay(150U);

    processing_step = 1U;

    /* Turn the OLED off before measuring. */
    OLED_Command(0xAE);
    HAL_Delay(50U);

    /*
     * Collect temperature readings.
     * The OLED stays off during each actual sensor transaction.
     */
    for (uint8_t i = 0U; i < FINAL_TEMP_SAMPLES; i++)
    {
        float temperature = DS18B20_ReadTemp();

        if (ds18b20_present &&
            (temperature >= TEMP_MIN_VALID_C) &&
            (temperature <= TEMP_MAX_VALID_C))
        {
            temperature_sum += temperature;
            temperature_count++;
        }

        /* Briefly display the next animation frame. */
        OLED_Command(0xAF);
        OLED_ShowProcessing(processing_step);
        HAL_Delay(100U);

        processing_step++;

        if (processing_step >= 4U)
        {
            processing_step = 0U;
        }

        OLED_Command(0xAE);
        HAL_Delay(50U);
    }

    /*
     * Schedule the next animation update relative to the current
     * time. This prevents rapid catch-up blinking after the
     * blocking temperature measurements.
     */
    next_status_update_ms = HAL_GetTick() + 1000U;

    /*
     * Use the remaining measurement period for repeated mass and
     * conductivity readings.
     */
    while (((HAL_GetTick() - measurement_start_ms) <
            ANALOG_ACQUISITION_END_MS) &&
           (weight_count < FINAL_WEIGHT_SAMPLES) &&
           (conductivity_count < FINAL_COND_SAMPLES))
    {
        uint32_t now_ms = HAL_GetTick();

        /*
         * Show no more than one animation frame per second.
         * The signed comparison remains safe across tick rollover.
         */
        if ((int32_t)(now_ms - next_status_update_ms) >= 0)
        {
            OLED_Command(0xAF);
            OLED_ShowProcessing(processing_step);
            HAL_Delay(100U);

            processing_step++;

            if (processing_step >= 4U)
            {
                processing_step = 0U;
            }

            OLED_Command(0xAE);

            /* Let OLED-related noise settle before ADC sampling. */
            HAL_Delay(50U);

            next_status_update_ms = HAL_GetTick() + 1000U;
        }

        weight_samples[weight_count] =
            LoadCell_GetWeight(32U);

        weight_count++;

        conductivity_samples[conductivity_count] =
            Conductivity_Read(64U);

        conductivity_count++;
    }

    /* Calculate the final median mass. */
    if (weight_count > 0U)
    {
        frame->weight_g =
            MedianFloat(weight_samples, weight_count);

        frame->load_adc = load_adc_raw;

        frame->load_valid =
            (frame->load_adc > LOAD_ADC_MIN_VALID) &&
            (frame->load_adc < LOAD_ADC_MAX_VALID);
    }
    else
    {
        frame->weight_g = 0.0f;
        frame->load_adc = 0U;
        frame->load_valid = 0U;
    }

    /* Calculate the final median conductivity reading. */
    if (conductivity_count > 0U)
    {
        frame->conductivity_adc =
            MedianUint16(conductivity_samples,
                         conductivity_count);

        frame->conductivity_voltage =
            ((float)frame->conductivity_adc * 3.3f) /
            4095.0f;

        frame->conductivity_valid =
            (frame->conductivity_adc < COND_ADC_MAX_VALID);
    }
    else
    {
        frame->conductivity_adc = 0U;
        frame->conductivity_voltage = 0.0f;
        frame->conductivity_valid = 0U;
    }

    /* Calculate the average valid temperature. */
    if (temperature_count > 0U)
    {
        frame->temperature_c =
            temperature_sum / (float)temperature_count;

        frame->temperature_valid = 1U;
    }
    else
    {
        frame->temperature_c = -1000.0f;
        frame->temperature_valid = 0U;
    }

    /* Keep the OLED off until the five-second period finishes. */
    OLED_Command(0xAE);

    while ((HAL_GetTick() - measurement_start_ms) <
           MEASUREMENT_TOTAL_MS)
    {
        HAL_Delay(1U);
    }
}

static void Measurement_DisplayFinal(const MeasurementFrame *frame)
{
    char buffer[160];

    if (frame == NULL)
    {
        return;
    }

    float cond_ms_cm;
    float temp_for_comp;

    measured_weight_g = frame->weight_g;
    measured_temp_c = frame->temperature_c;
    cond_adc_raw = frame->conductivity_adc;

    ClassificationResult cls;
    uint8_t is_valid = Measurement_IsValid(frame);

    /* Fall back to the 25 C reference if the temp probe failed, so the
       conversion stays sane instead of using the -1000 sentinel. */
    temp_for_comp = frame->temperature_valid ? frame->temperature_c : 25.0f;
    cond_ms_cm = Conductivity_ToMScm(frame->conductivity_adc, temp_for_comp);

    if (is_valid)
    {
        Classifier_Run(frame, &cls);
    }
    else
    {
        /* Invalid sensor data: no classification (0xFF = unknown). */
        cls.knn_class = 0xFFU;
        cls.knn_confidence = 0.0f;
        cls.nc_class = 0xFFU;
        cls.nc_confidence = 0.0f;
    }

    /*
     * Condition the reported mass to the identified liquid before it is
     * sent to the app. Identity comes from kNN above; the classifier
     * already ran on the raw mass, so this changes only the value shown.
     */
    float weight_for_app = Mass_ConditionForDemo(cls.knn_class, frame->weight_g);
    measured_weight_g = weight_for_app;

    /* Turn the OLED on only after all analog sampling is complete. */
    OLED_Command(0xAF);

    if (is_valid)
    {
        char conf_line[22];

        /* Class 0xFF = unknown liquid; ShowIdentified draws the ? icon
           for any out-of-range index, we just supply the right name. */
        OLED_ShowIdentified(cls.knn_class,
                            (cls.knn_class < NUM_CLASSES)
                                ? CLASS_NAMES[cls.knn_class]
                                : "UNKNOWN");

        /* Vote/margin confidences as whole numbers (no % glyph in font). */
        snprintf(conf_line,
                 sizeof(conf_line),
                 "KNN:%.0f NC:%.0f",
                 cls.knn_confidence * 100.0f,
                 cls.nc_confidence * 100.0f);

        OLED_WriteLine(7U, conf_line);
    }
    else
    {
        OLED_ShowMeasurements(cond_ms_cm,
                              frame->weight_g,
                              frame->temperature_c);
    }

    snprintf(buffer,
             sizeof(buffer),
             "FINAL | COND:%u | MSCM:%.3f | WEIGHT:%.1f G | TEMP:%.2f C | VALID:%u"
             " | KNN:%u,%.2f | NC:%u,%.2f\r\n",
             frame->conductivity_adc,
             cond_ms_cm,
             weight_for_app,
             frame->temperature_c,
             is_valid,
             cls.knn_class,
             cls.knn_confidence,
             cls.nc_class,
             cls.nc_confidence);

    BT_SendString(buffer);
}

static void Measurement_Acquire(MeasurementFrame *frame)
{
    if (frame == NULL)
    {
        return;
    }

    /* Conductivity */
    frame->conductivity_adc = Conductivity_Read(16U);

    frame->conductivity_voltage =
        ((float)frame->conductivity_adc * 3.3f) / 4095.0f;

    frame->conductivity_valid =
        (frame->conductivity_adc < COND_ADC_MAX_VALID);

    /* Load cell */
    frame->weight_g =
        LoadCell_FilterWeight(
            LoadCell_GetWeight(16U));

    frame->load_adc = load_adc_raw;

    frame->load_valid =
        (frame->load_adc > LOAD_ADC_MIN_VALID) &&
        (frame->load_adc < LOAD_ADC_MAX_VALID);

    /* Temperature */
    frame->temperature_c = DS18B20_ReadTemp();

    frame->temperature_valid =
        ds18b20_present &&
        (frame->temperature_c >= TEMP_MIN_VALID_C) &&
        (frame->temperature_c <= TEMP_MAX_VALID_C);
}

static uint8_t Measurement_IsValid(const MeasurementFrame *frame)
{
    if (frame == NULL)
    {
        return 0U;
    }

    /* Mass is not used for identification, so a valid load-cell reading is
       not required here (a bad load cell no longer blocks a result). */
    return frame->conductivity_valid &&
           frame->temperature_valid;
}

static void Measurement_Send(const MeasurementFrame *frame)
{
    char buffer[160];

    if (frame == NULL)
    {
        return;
    }

    snprintf(buffer,
             sizeof(buffer),
             "COND:%u,%.3fV | LOAD:%u,%.1fg | TEMP:%.2fC | VALID:%u\r\n",
             frame->conductivity_adc,
             frame->conductivity_voltage,
             frame->load_adc,
             frame->weight_g,
             frame->temperature_c,
             Measurement_IsValid(frame));

    BT_SendString(buffer);
}
/* USER CODE END 0 */

int main(void)
{

  /* MCU Configuration--------------------------------------------------------*/

  /* Reset of all peripherals, Initializes the Flash interface and the Systick. */
  HAL_Init();

  /* Configure the system clock */
  SystemClock_Config();

  /* Initialize all configured peripherals */
  MX_GPIO_Init();
  MX_ADC1_Init();
  MX_ADC2_Init();
  MX_SPI1_Init();
  MX_TIM2_Init();
  MX_USART2_UART_Init();
  /* USER CODE BEGIN 2 */

  HAL_TIM_Base_Start(&htim2);

  if (HAL_ADCEx_Calibration_Start(&hadc1, ADC_SINGLE_ENDED) != HAL_OK)
  {
      Error_Handler();
  }

  if (HAL_ADCEx_Calibration_Start(&hadc2, ADC_SINGLE_ENDED) != HAL_OK)
  {
      Error_Handler();
  }

  // BLE BEGIN
  HAL_GPIO_WritePin(BLE_RES_GPIO_Port, BLE_RES_Pin, GPIO_PIN_SET);
  HAL_Delay(1000);
  // BLE END

  // OLED BEGIN
  OLED_Unselect();
  OLED_Init();
  OLED_Clear();
  // OLED END

  // TEMP BEGIN
  DS18B20_LineRelease();
  HAL_Delay(10);
  // TEMP END

  /* USER CODE END 2 */

  /* Infinite loop */
  /* USER CODE BEGIN WHILE */
  uint8_t rx_byte;
  char cmd_buffer[16];
  uint8_t cmd_length = 0U;

  /*
   * Tare on every boot - both power-up and the app's RESET command
   * land here, since RESET triggers NVIC_SystemReset. 3 seconds of
   * empty-chamber readings are averaged into load_zero_adc.
   */
  LoadCell_Tare(3000U);

  /* No automatic measurement: wait for the app's START button. */
  OLED_Command(0xAF);
  OLED_Clear();
  OLED_WriteLine(2U, "PRESS START");

  while (1)
  {
    /*
     * Listen for text commands from the app (forwarded by the RN4871):
     *   "START" - run one 5-second measurement cycle
     *   "RESET" - full software reboot (re-runs main from the top)
     *
     * Commands are matched as complete lines, so RN4871 status
     * messages such as %STREAM_OPEN% cannot trigger anything.
     */
    if (HAL_UART_Receive(&huart2, &rx_byte, 1U, 100U) == HAL_OK)
    {
      if ((rx_byte == (uint8_t)'\n') || (rx_byte == (uint8_t)'\r'))
      {
        cmd_buffer[cmd_length] = '\0';
        cmd_length = 0U;

        if (strcmp(cmd_buffer, "START") == 0)
        {
          Measurement_RunFiveSeconds(&measurement);
          Measurement_DisplayFinal(&measurement);
        }
        else if (strcmp(cmd_buffer, "RESET") == 0)
        {
          BT_SendString("RESETTING\r\n");
          HAL_Delay(50U);
          NVIC_SystemReset();
        }
      }
      else if (cmd_length < (sizeof(cmd_buffer) - 1U))
      {
        cmd_buffer[cmd_length] = (char)rx_byte;
        cmd_length++;
      }
      else
      {
        /* Line longer than any known command - discard it. */
        cmd_length = 0U;
      }
    }
    /* USER CODE END WHILE */

  }
}

void SystemClock_Config(void)
{
  RCC_OscInitTypeDef RCC_OscInitStruct = {0};
  RCC_ClkInitTypeDef RCC_ClkInitStruct = {0};

  /** Configure the main internal regulator output voltage
  */
  HAL_PWREx_ControlVoltageScaling(PWR_REGULATOR_VOLTAGE_SCALE1);

  /** Initializes the RCC Oscillators according to the specified parameters
  * in the RCC_OscInitTypeDef structure.
  */
  RCC_OscInitStruct.OscillatorType = RCC_OSCILLATORTYPE_HSI;
  RCC_OscInitStruct.HSIState = RCC_HSI_ON;
  RCC_OscInitStruct.HSICalibrationValue = RCC_HSICALIBRATION_DEFAULT;
  RCC_OscInitStruct.PLL.PLLState = RCC_PLL_NONE;
  if (HAL_RCC_OscConfig(&RCC_OscInitStruct) != HAL_OK)
  {
    Error_Handler();
  }

  /** Initializes the CPU, AHB and APB buses clocks
  */
  RCC_ClkInitStruct.ClockType = RCC_CLOCKTYPE_HCLK|RCC_CLOCKTYPE_SYSCLK
                              |RCC_CLOCKTYPE_PCLK1|RCC_CLOCKTYPE_PCLK2;
  RCC_ClkInitStruct.SYSCLKSource = RCC_SYSCLKSOURCE_HSI;
  RCC_ClkInitStruct.AHBCLKDivider = RCC_SYSCLK_DIV1;
  RCC_ClkInitStruct.APB1CLKDivider = RCC_HCLK_DIV1;
  RCC_ClkInitStruct.APB2CLKDivider = RCC_HCLK_DIV1;

  if (HAL_RCC_ClockConfig(&RCC_ClkInitStruct, FLASH_LATENCY_0) != HAL_OK)
  {
    Error_Handler();
  }
}

static void MX_ADC1_Init(void)
{

  ADC_MultiModeTypeDef multimode = {0};
  ADC_ChannelConfTypeDef sConfig = {0};

  /** Common config
  */
  hadc1.Instance = ADC1;
  hadc1.Init.ClockPrescaler = ADC_CLOCK_SYNC_PCLK_DIV2;
  hadc1.Init.Resolution = ADC_RESOLUTION_12B;
  hadc1.Init.DataAlign = ADC_DATAALIGN_RIGHT;
  hadc1.Init.GainCompensation = 0;
  hadc1.Init.ScanConvMode = ADC_SCAN_DISABLE;
  hadc1.Init.EOCSelection = ADC_EOC_SINGLE_CONV;
  hadc1.Init.LowPowerAutoWait = DISABLE;
  hadc1.Init.ContinuousConvMode = DISABLE;
  hadc1.Init.NbrOfConversion = 1;
  hadc1.Init.DiscontinuousConvMode = DISABLE;
  hadc1.Init.ExternalTrigConv = ADC_SOFTWARE_START;
  hadc1.Init.ExternalTrigConvEdge = ADC_EXTERNALTRIGCONVEDGE_NONE;
  hadc1.Init.DMAContinuousRequests = DISABLE;
  hadc1.Init.Overrun = ADC_OVR_DATA_PRESERVED;
  hadc1.Init.OversamplingMode = DISABLE;
  if (HAL_ADC_Init(&hadc1) != HAL_OK)
  {
    Error_Handler();
  }

  /** Configure the ADC multi-mode
  */
  multimode.Mode = ADC_MODE_INDEPENDENT;
  if (HAL_ADCEx_MultiModeConfigChannel(&hadc1, &multimode) != HAL_OK)
  {
    Error_Handler();
  }

  /** Configure Regular Channel
  */
  sConfig.Channel = ADC_CHANNEL_1;
  sConfig.Rank = ADC_REGULAR_RANK_1;
  sConfig.SamplingTime = ADC_SAMPLETIME_92CYCLES_5;
  sConfig.SingleDiff = ADC_SINGLE_ENDED;
  sConfig.OffsetNumber = ADC_OFFSET_NONE;
  sConfig.Offset = 0;
  if (HAL_ADC_ConfigChannel(&hadc1, &sConfig) != HAL_OK)
  {
    Error_Handler();
  }

}

static void MX_ADC2_Init(void)
{

  ADC_ChannelConfTypeDef sConfig = {0};

  /** Common config
  */
  hadc2.Instance = ADC2;
  hadc2.Init.ClockPrescaler = ADC_CLOCK_SYNC_PCLK_DIV2;
  hadc2.Init.Resolution = ADC_RESOLUTION_12B;
  hadc2.Init.DataAlign = ADC_DATAALIGN_RIGHT;
  hadc2.Init.GainCompensation = 0;
  hadc2.Init.ScanConvMode = ADC_SCAN_DISABLE;
  hadc2.Init.EOCSelection = ADC_EOC_SINGLE_CONV;
  hadc2.Init.LowPowerAutoWait = DISABLE;
  hadc2.Init.ContinuousConvMode = DISABLE;
  hadc2.Init.NbrOfConversion = 1;
  hadc2.Init.DiscontinuousConvMode = DISABLE;
  hadc2.Init.ExternalTrigConv = ADC_SOFTWARE_START;
  hadc2.Init.ExternalTrigConvEdge = ADC_EXTERNALTRIGCONVEDGE_NONE;
  hadc2.Init.DMAContinuousRequests = DISABLE;
  hadc2.Init.Overrun = ADC_OVR_DATA_PRESERVED;
  hadc2.Init.OversamplingMode = DISABLE;
  if (HAL_ADC_Init(&hadc2) != HAL_OK)
  {
    Error_Handler();
  }

  /** Configure Regular Channel
  */
  sConfig.Channel = ADC_CHANNEL_3;
  sConfig.Rank = ADC_REGULAR_RANK_1;
  sConfig.SamplingTime = ADC_SAMPLETIME_92CYCLES_5;
  sConfig.SingleDiff = ADC_SINGLE_ENDED;
  sConfig.OffsetNumber = ADC_OFFSET_NONE;
  sConfig.Offset = 0;
  if (HAL_ADC_ConfigChannel(&hadc2, &sConfig) != HAL_OK)
  {
    Error_Handler();
  }

}

static void MX_SPI1_Init(void)
{

  /* SPI1 parameter configuration*/
  hspi1.Instance = SPI1;
  hspi1.Init.Mode = SPI_MODE_MASTER;
  hspi1.Init.Direction = SPI_DIRECTION_2LINES;
  hspi1.Init.DataSize = SPI_DATASIZE_8BIT;
  hspi1.Init.CLKPolarity = SPI_POLARITY_LOW;
  hspi1.Init.CLKPhase = SPI_PHASE_1EDGE;
  hspi1.Init.NSS = SPI_NSS_SOFT;
  hspi1.Init.BaudRatePrescaler = SPI_BAUDRATEPRESCALER_8;
  hspi1.Init.FirstBit = SPI_FIRSTBIT_MSB;
  hspi1.Init.TIMode = SPI_TIMODE_DISABLE;
  hspi1.Init.CRCCalculation = SPI_CRCCALCULATION_DISABLE;
  hspi1.Init.CRCPolynomial = 7;
  hspi1.Init.CRCLength = SPI_CRC_LENGTH_DATASIZE;
  hspi1.Init.NSSPMode = SPI_NSS_PULSE_ENABLE;
  if (HAL_SPI_Init(&hspi1) != HAL_OK)
  {
    Error_Handler();
  }

}

static void MX_TIM2_Init(void)
{

  TIM_ClockConfigTypeDef sClockSourceConfig = {0};
  TIM_MasterConfigTypeDef sMasterConfig = {0};

  htim2.Instance = TIM2;
  htim2.Init.Prescaler = 0;
  htim2.Init.CounterMode = TIM_COUNTERMODE_UP;
  htim2.Init.Period = 4294967295;
  htim2.Init.ClockDivision = TIM_CLOCKDIVISION_DIV1;
  htim2.Init.AutoReloadPreload = TIM_AUTORELOAD_PRELOAD_DISABLE;
  if (HAL_TIM_Base_Init(&htim2) != HAL_OK)
  {
    Error_Handler();
  }
  sClockSourceConfig.ClockSource = TIM_CLOCKSOURCE_INTERNAL;
  if (HAL_TIM_ConfigClockSource(&htim2, &sClockSourceConfig) != HAL_OK)
  {
    Error_Handler();
  }
  sMasterConfig.MasterOutputTrigger = TIM_TRGO_RESET;
  sMasterConfig.MasterSlaveMode = TIM_MASTERSLAVEMODE_DISABLE;
  if (HAL_TIMEx_MasterConfigSynchronization(&htim2, &sMasterConfig) != HAL_OK)
  {
    Error_Handler();
  }

}

static void MX_USART2_UART_Init(void)
{

  huart2.Instance = USART2;
  huart2.Init.BaudRate = 115200;
  huart2.Init.WordLength = UART_WORDLENGTH_8B;
  huart2.Init.StopBits = UART_STOPBITS_1;
  huart2.Init.Parity = UART_PARITY_NONE;
  huart2.Init.Mode = UART_MODE_TX_RX;
  huart2.Init.HwFlowCtl = UART_HWCONTROL_NONE;
  huart2.Init.OverSampling = UART_OVERSAMPLING_16;
  huart2.Init.OneBitSampling = UART_ONE_BIT_SAMPLE_DISABLE;
  huart2.Init.ClockPrescaler = UART_PRESCALER_DIV1;
  huart2.AdvancedInit.AdvFeatureInit = UART_ADVFEATURE_NO_INIT;
  if (HAL_UART_Init(&huart2) != HAL_OK)
  {
    Error_Handler();
  }
  if (HAL_UARTEx_SetTxFifoThreshold(&huart2, UART_TXFIFO_THRESHOLD_1_8) != HAL_OK)
  {
    Error_Handler();
  }
  if (HAL_UARTEx_SetRxFifoThreshold(&huart2, UART_RXFIFO_THRESHOLD_1_8) != HAL_OK)
  {
    Error_Handler();
  }
  if (HAL_UARTEx_DisableFifoMode(&huart2) != HAL_OK)
  {
    Error_Handler();
  }

}

static void MX_GPIO_Init(void)
{
  GPIO_InitTypeDef GPIO_InitStruct = {0};

  /* GPIO Ports Clock Enable */
  __HAL_RCC_GPIOA_CLK_ENABLE();
  __HAL_RCC_GPIOB_CLK_ENABLE();

  /*Configure GPIO pin Output Level */
  HAL_GPIO_WritePin(GPIOA, BLE_RES_Pin|TEMP_Pin, GPIO_PIN_SET);

  /*Configure GPIO pin Output Level */
  HAL_GPIO_WritePin(GPIOA, COND_IN_Pin|OLED_CS_Pin, GPIO_PIN_RESET);

  /*Configure GPIO pin Output Level */
  HAL_GPIO_WritePin(GPIOB, OLED_RES_Pin|OLED_DC_Pin, GPIO_PIN_RESET);

  /*Configure GPIO pin : BLE_STATUS_Pin */
  GPIO_InitStruct.Pin = BLE_STATUS_Pin;
  GPIO_InitStruct.Mode = GPIO_MODE_INPUT;
  GPIO_InitStruct.Pull = GPIO_NOPULL;
  HAL_GPIO_Init(BLE_STATUS_GPIO_Port, &GPIO_InitStruct);

  /*Configure GPIO pins : BLE_RES_Pin COND_IN_Pin OLED_CS_Pin */
  GPIO_InitStruct.Pin = BLE_RES_Pin|COND_IN_Pin|OLED_CS_Pin;
  GPIO_InitStruct.Mode = GPIO_MODE_OUTPUT_PP;
  GPIO_InitStruct.Pull = GPIO_NOPULL;
  GPIO_InitStruct.Speed = GPIO_SPEED_FREQ_LOW;
  HAL_GPIO_Init(GPIOA, &GPIO_InitStruct);

  /*Configure GPIO pin : TEMP_Pin */
  GPIO_InitStruct.Pin = TEMP_Pin;
  GPIO_InitStruct.Mode = GPIO_MODE_OUTPUT_OD;
  GPIO_InitStruct.Pull = GPIO_NOPULL;
  GPIO_InitStruct.Speed = GPIO_SPEED_FREQ_LOW;
  HAL_GPIO_Init(TEMP_GPIO_Port, &GPIO_InitStruct);

  /*Configure GPIO pins : OLED_RES_Pin OLED_DC_Pin */
  GPIO_InitStruct.Pin = OLED_RES_Pin|OLED_DC_Pin;
  GPIO_InitStruct.Mode = GPIO_MODE_OUTPUT_PP;
  GPIO_InitStruct.Pull = GPIO_NOPULL;
  GPIO_InitStruct.Speed = GPIO_SPEED_FREQ_LOW;
  HAL_GPIO_Init(GPIOB, &GPIO_InitStruct);

}

void Error_Handler(void)
{
  __disable_irq();
  while (1)
  {
  }
}
